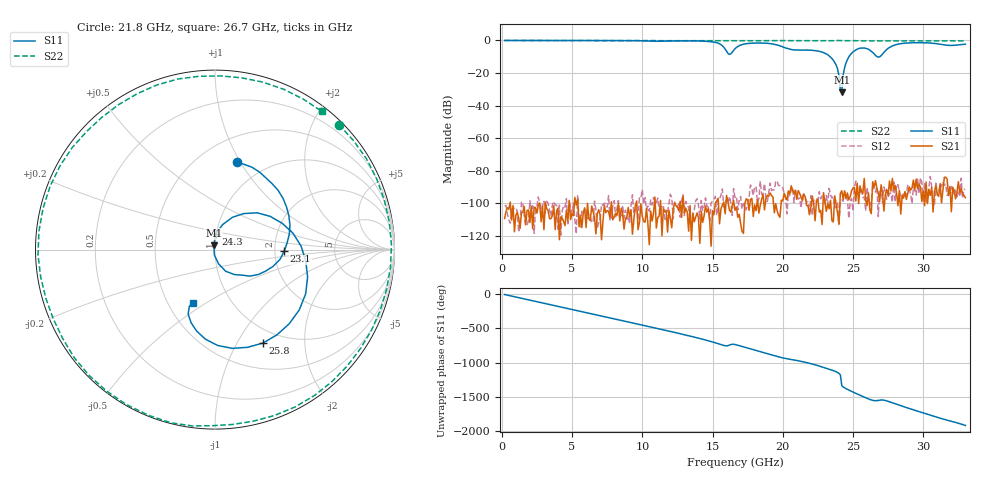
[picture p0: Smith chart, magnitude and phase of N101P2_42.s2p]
# GHZ S RI R 50
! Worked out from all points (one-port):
!   329 points, 200 MHz to 33 GHz, reference 50 ohm
!   lowest |S11| = -31.9 dB at 24.2 GHz (marker M1), VSWR 1.05, Z = 49.2 + j2.41 ohm
!   |S11| at or under -10 dB: 23.37 GHz to 24.71 GHz (1.344 GHz wide, 5.59 % of centre); 26.73 GHz to 26.91 GHz (173.4 MHz wide, 0.646 % of centre)
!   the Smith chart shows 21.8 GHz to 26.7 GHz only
!   S11 on the Smith chart (normalised r, x): 21.8 GHz: 0.74, +0.97; 23.1 GHz: 2.25, -0.05; 24.3 GHz: 0.99, +0.17; 25.8 GHz: 0.81, -1.29; 26.7 GHz: 0.66, -0.44
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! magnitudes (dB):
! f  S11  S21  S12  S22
! 200 MHz  0.0  -109.3  -101.7  0.0
! 5.7 GHz  0.0  -114.9  -104.8  -0.1
! 11.2 GHz  -0.5  -107.9  -103.5  -0.1
! 15.2 GHz  -1.2  -100.1  -95.8  -0.2
! 16.2 GHz  -8.6  -104.2  -95.9  -0.2
! 16.6 GHz  -5.1  -104.3  -96.5  -0.2
! 18.5 GHz  -1.6  -97.5  -94.7  -0.1
! 21.8 GHz  -6.0  -101.5  -99.0  -0.2
! 22.1 GHz  -6.1  -95.5  -107.3  -0.1
! 23.1 GHz  -8.3  -104.9  -95.2  -0.2
! 23.8 GHz  -15.1  -100.7  -102.0  -0.1
! 24 GHz  -21.8  -113.0  -113.5  0.0
! 24.1 GHz  -30.2  -94.0  -98.9  0.0
! 24.2 GHz  -31.9  -92.3  -98.0  -0.1
! 24.3 GHz  -21.2  -97.5  -98.8  -0.1
! 24.5 GHz  -13.8  -97.2  -95.0  -0.2
! 24.8 GHz  -8.9  -95.9  -98.9  -0.1
! 25.8 GHz  -4.7  -84.8  -96.1  -0.3
! 26.7 GHz  -9.9  -90.9  -89.8  -0.2
! 27.6 GHz  -4.3  -86.3  -93.9  -0.2
! 29.2 GHz  -1.4  -90.6  -100.2  -0.2
! 33 GHz  -2.3  -96.6  -91.5  -0.3
